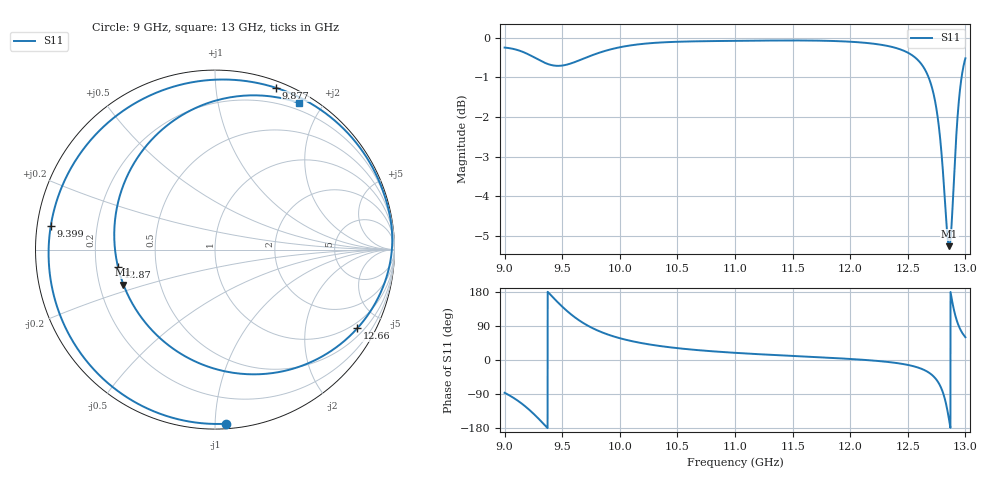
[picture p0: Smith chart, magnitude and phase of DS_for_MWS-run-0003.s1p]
! TOUCHSTONE file generated by CST DESIGN STUDIO
! Date and time: Tue Feb  4 17:43:45 2025
! Project name: C:\Work\MatlabApps\UnitCellOptimizationMatlab\CST\unitcell.cst
! Tree item: Tasks\Sweep1\SPara1\S-Parameters
! Header version: 2024
! Port assignment regex: !\s*Touchstone port\s*([0-9]+)\s*=\s*(CST MWS port|CST DES external port|CST DES block port)\s*(.+)\s* \(\"(.*)\"\)(\s*mode\s*([0-9]+))?.*
! Touchstone port assignment:
! Touchstone port 1 = CST DES external port 1 ("")
# GHz S MA R 50
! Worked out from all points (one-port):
!   4001 points, 9 GHz to 13 GHz, reference 50 ohm
!   lowest |S11| = -5.3 dB at 12.86 GHz (marker M1), VSWR 3.41, Z = 15.1 - j8.45 ohm
!   |S11| at or under -10 dB: nowhere
!   S11 on the Smith chart (normalised r, x): 9 GHz: 0.03, -1.06; 9.399 GHz: 0.04, +0.07; 9.877 GHz: 0.06, +1.44; 12.66 GHz: 0.76, -3.74; 12.87 GHz: 0.29, -0.08; 13 GHz: 0.12, +1.72
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9  0.9722 -86.5
9.108  0.9656 -106.0
9.198  0.9544 -127.2
9.308  0.9362 -159.0
9.399  0.9246 171.9
9.5  0.9227 140.9
9.575  0.9283 120.9
9.656  0.9378 102.8
9.766  0.9515 83.7
9.877  0.9632 69.3
10  0.973 57.5
10.216  0.9832 43.1
10.5  0.9887 31.3
11  0.9913 18.9
11.5  0.9924 10.7
12  0.9888 2.8
12.5  0.9579 -13.0
12.659  0.9062 -28.9
12.737  0.8319 -47.6
12.796  0.7058 -78.4
12.828  0.605 -110.5
12.859  0.5462 -159.0
12.865  0.549 -169.8
12.892  0.6255 144.4
12.91  0.7053 120.3
12.927  0.7764 102.6
12.956  0.8675 80.6
13  0.9423 60.0
